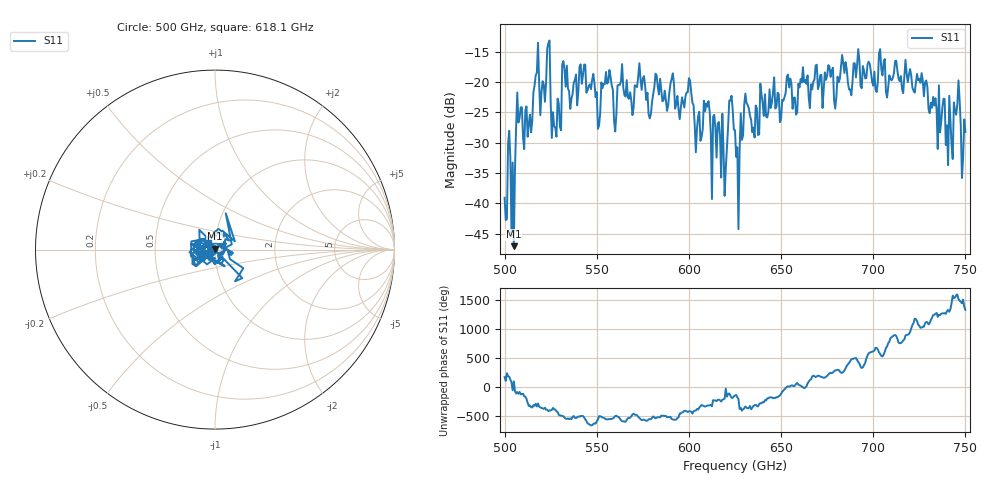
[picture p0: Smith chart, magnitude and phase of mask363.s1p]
!Created with skrf (http://scikit-rf.org).
# GHz S MA R 50.0
!freq magS11 angS11
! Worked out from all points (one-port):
!   401 points, 500 GHz to 750 GHz, reference 50 ohm
!   lowest |S11| = -47.1 dB at 505 GHz (marker M1), VSWR 1.01, Z = 50 + j0.441 ohm
!   |S11| at or under -10 dB: start of sweep to end of sweep
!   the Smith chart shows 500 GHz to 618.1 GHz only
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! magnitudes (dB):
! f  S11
! 500 GHz  -39.1
! 503.1 GHz  -32.6
! 505 GHz  -47.1
! 507.5 GHz  -26.7
! 513.8 GHz  -25.4
! 516.9 GHz  -18.9
! 520.6 GHz  -19.9
! 523.8 GHz  -13.6
! 526.9 GHz  -27.3
! 531.2 GHz  -17.1
! 542.5 GHz  -18.9
! 550.6 GHz  -27.7
! 556.2 GHz  -20.0
! 560 GHz  -28.2
! 562.5 GHz  -20.5
! 593.8 GHz  -22.3
! 605 GHz  -25.7
! 609.4 GHz  -23.5
! 618.8 GHz  -31.0
! 622.5 GHz  -23.1
! 625 GHz  -28.0
! 626.2 GHz  -30.8
! 631.2 GHz  -23.5
! 634.4 GHz  -28.3
! 656.2 GHz  -24.4
! 687.5 GHz  -21.2
! 718.8 GHz  -20.0
! 750 GHz  -28.2
